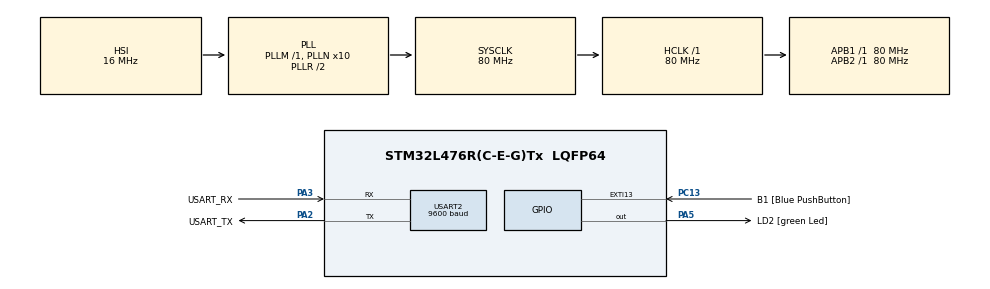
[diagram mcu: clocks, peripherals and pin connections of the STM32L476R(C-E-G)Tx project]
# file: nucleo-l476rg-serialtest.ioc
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Mcu.Family=STM32L4
RCC.MSI_VALUE=4000000
RCC.PLLSourceVirtual=RCC_PLLSOURCE_HSI
PA14\ (JTCK-SWCLK).Mode=Serial_Wire
PA2.GPIO_PuPd=GPIO_NOPULL
RCC.CortexFreq_Value=80000000
PH0-OSC_IN\ (PH0).Signal=RCC_OSC_IN
PC13.Signal=GPXTI13
PA3.GPIO_PuPd=GPIO_NOPULL
PA2.GPIO_Speed=GPIO_SPEED_FREQ_VERY_HIGH
PC15-OSC32_OUT\ (PC15).Signal=RCC_OSC32_OUT
PC15-OSC32_OUT\ (PC15).Mode=LSE-External-Oscillator
PA14\ (JTCK-SWCLK).GPIO_Label=TCK
PB3\ (JTDO-TRACESWO).GPIO_Label=SWO
PC13.GPIO_Label=B1 [Blue PushButton]
PA3.GPIO_Speed=GPIO_SPEED_FREQ_VERY_HIGH
USART2.BaudRate=9600
PH1-OSC_OUT\ (PH1).Signal=RCC_OSC_OUT
RCC.SYSCLKSource=RCC_SYSCLKSOURCE_PLLCLK
ProjectManager.StackSize=0x400
PB3\ (JTDO-TRACESWO).Signal=SYS_JTDO-SWO
PC14-OSC32_IN\ (PC14).Mode=LSE-External-Oscillator
PA14\ (JTCK-SWCLK).Signal=SYS_JTCK-SWCLK
PA3.Mode=Asynchronous
ProjectManager.TargetToolchain=STM32CubeIDE
PA3.GPIO_Mode=GPIO_MODE_AF_PP
RCC.HCLKFreq_Value=80000000
RCC.APB2TimFreq_Value=80000000
RCC.USBFreq_Value=64000000
RCC.AHBFreq_Value=80000000
RCC.PREFETCH_ENABLE=1
PA5.Signal=GPIO_Output
RCC.HSE_VALUE=8000000
board=NUCLEO-L476RG
USART2.VirtualMode-Asynchronous=VM_ASYNC
RCC.VCOOutputFreq_Value=160000000
RCC.APB2Freq_Value=80000000
PA5.GPIO_ModeDefaultOutputPP=GPIO_MODE_OUTPUT_PP
PA13\ (JTMS-SWDIO).GPIO_Label=TMS
PA5.GPIO_PuPd=GPIO_NOPULL
RCC.ADCFreq_Value=64000000
PC13.GPIO_PuPd=GPIO_NOPULL
Mcu.Name=STM32L476R(C-E-G)Tx
PA2.Signal=USART2_TX
PA13\ (JTMS-SWDIO).Mode=Serial_Wire
RCC.SYSCLKFreq_VALUE=80000000
Mcu.Package=LQFP64
PA5.GPIO_Label=LD2 [green Led]
PC13.GPIO_ModeDefaultEXTI=GPIO_MODE_IT_FALLING
PC14-OSC32_IN\ (PC14).Signal=RCC_OSC32_IN
PA2.GPIO_Label=USART_TX
ProjectManager.HeapSize=0x200
RCC.HSI_VALUE=16000000
PA5.GPIO_Speed=GPIO_SPEED_FREQ_LOW
NVIC.PriorityGroup=NVIC_PRIORITYGROUP_4
RCC.PLLN=10
RCC.APB1TimFreq_Value=80000000
PA2.Mode=Asynchronous
PA13\ (JTMS-SWDIO).Signal=SYS_JTMS-SWDIO
RCC.APB1Freq_Value=80000000
PA3.GPIO_Label=USART_RX
PA3.Signal=USART2_RX
PA2.GPIO_Mode=GPIO_MODE_AF_PP

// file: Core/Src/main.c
/* USER CODE BEGIN Header */
/**
  ******************************************************************************
  * @file           : main.c
  * @brief          : Main program body
  ******************************************************************************
  * @attention
  *
  * <h2><center>&copy; Copyright (c) 2021 STMicroelectronics.
  * All rights reserved.</center></h2>
  *
  * This software component is licensed by ST under BSD 3-Clause license,
  * the "License"; You may not use this file except in compliance with the
  * License. You may obtain a copy of the License at:
  *                        opensource.org/licenses/BSD-3-Clause
  *
  ******************************************************************************
  */
/* USER CODE END Header */
#include "main.h"

/* USER CODE BEGIN Includes */
#include "stdbool.h"
/* USER CODE END Includes */

UART_HandleTypeDef huart2;

void SystemClock_Config(void);
static void MX_GPIO_Init(void);
static void MX_USART2_UART_Init(void);

int main(void)
{
  /* USER CODE BEGIN 1 */
//  bool complete = false; // state control variable
  uint32_t debounce = HAL_GetTick();
  uint8_t txString[] = "blue1234567890red1234567823132132132132132132132190\r\n";
  uint8_t rx_Data[10] = ""; //  10 byte wide receive buffer for serial data

  // initialize the receive buffer empty because there could be junk in it from a reset
  rx_Data[0] = '\0';

  /* USER CODE END 1 */

  /* MCU Configuration--------------------------------------------------------*/

  /* Reset of all peripherals, Initializes the Flash interface and the Systick. */
  HAL_Init();

  /* Configure the system clock */
  SystemClock_Config();

  /* Initialize all configured peripherals */
  MX_GPIO_Init();
  MX_USART2_UART_Init();

  /* Infinite loop */
  /* USER CODE BEGIN WHILE */
  while (1)
  {
	// GPIO_PIN_13 is considered "reset" when pressed down
    if ( (HAL_GPIO_ReadPin(GPIOC, GPIO_PIN_13) == GPIO_PIN_RESET) && ((HAL_GetTick() - debounce) > 150))
    {
    	HAL_UART_Transmit(&huart2, txString, sizeof(txString), 0xFFFF);
    	debounce = HAL_GetTick();
    }

    // below code uses ticks to send serial data every 1 second
    /*
	  if ((HAL_GetTick() - time1) > 1500)
    {
    	HAL_UART_Transmit(&huart2, txString, sizeof(txString), 0xFFFF);
    	time1 = HAL_GetTick();
    }
    */

    HAL_UART_Receive(&huart2, rx_Data, sizeof(rx_Data), 20);

    if (rx_Data[0] == 'a')
    {
    	// send an 'a' character to toggle ON the built-in LED
    	HAL_GPIO_WritePin(GPIOA, GPIO_PIN_5, GPIO_PIN_SET);
    }
    else if (rx_Data[0] == 'b')
    {
    	// send a 'b' character to toggle OFF the built-in LED
    	HAL_GPIO_WritePin(GPIOA, GPIO_PIN_5, GPIO_PIN_RESET);
    }

    // loop-back the received character buffer for learning purposes
    HAL_UART_Transmit(&huart2, rx_Data, sizeof(rx_Data), 0xFFFF);

    /* USER CODE END WHILE */

    /* USER CODE BEGIN 3 */
    // \0 is the null character for a character array (aka string), all characters after \0
    // in a character array are ignored, even though they do still exist if you could physically
    // access the memory still
    // -= the operation below essentially "clears" out the character array =-
    rx_Data[0] = '\0';
  }
  /* USER CODE END 3 */
}

void SystemClock_Config(void)
{
  RCC_OscInitTypeDef RCC_OscInitStruct = {0};
  RCC_ClkInitTypeDef RCC_ClkInitStruct = {0};
  RCC_PeriphCLKInitTypeDef PeriphClkInit = {0};

  /** Initializes the RCC Oscillators according to the specified parameters
  * in the RCC_OscInitTypeDef structure.
  */
  RCC_OscInitStruct.OscillatorType = RCC_OSCILLATORTYPE_HSI;
  RCC_OscInitStruct.HSIState = RCC_HSI_ON;
  RCC_OscInitStruct.HSICalibrationValue = RCC_HSICALIBRATION_DEFAULT;
  RCC_OscInitStruct.PLL.PLLState = RCC_PLL_ON;
  RCC_OscInitStruct.PLL.PLLSource = RCC_PLLSOURCE_HSI;
  RCC_OscInitStruct.PLL.PLLM = 1;
  RCC_OscInitStruct.PLL.PLLN = 10;
  RCC_OscInitStruct.PLL.PLLP = RCC_PLLP_DIV7;
  RCC_OscInitStruct.PLL.PLLQ = RCC_PLLQ_DIV2;
  RCC_OscInitStruct.PLL.PLLR = RCC_PLLR_DIV2;
  if (HAL_RCC_OscConfig(&RCC_OscInitStruct) != HAL_OK)
  {
    Error_Handler();
  }
  /** Initializes the CPU, AHB and APB buses clocks
  */
  RCC_ClkInitStruct.ClockType = RCC_CLOCKTYPE_HCLK|RCC_CLOCKTYPE_SYSCLK
                              |RCC_CLOCKTYPE_PCLK1|RCC_CLOCKTYPE_PCLK2;
  RCC_ClkInitStruct.SYSCLKSource = RCC_SYSCLKSOURCE_PLLCLK;
  RCC_ClkInitStruct.AHBCLKDivider = RCC_SYSCLK_DIV1;
  RCC_ClkInitStruct.APB1CLKDivider = RCC_HCLK_DIV1;
  RCC_ClkInitStruct.APB2CLKDivider = RCC_HCLK_DIV1;

  if (HAL_RCC_ClockConfig(&RCC_ClkInitStruct, FLASH_LATENCY_4) != HAL_OK)
  {
    Error_Handler();
  }
  PeriphClkInit.PeriphClockSelection = RCC_PERIPHCLK_USART2;
  PeriphClkInit.Usart2ClockSelection = RCC_USART2CLKSOURCE_PCLK1;
  if (HAL_RCCEx_PeriphCLKConfig(&PeriphClkInit) != HAL_OK)
  {
    Error_Handler();
  }
  /** Configure the main internal regulator output voltage
  */
  if (HAL_PWREx_ControlVoltageScaling(PWR_REGULATOR_VOLTAGE_SCALE1) != HAL_OK)
  {
    Error_Handler();
  }
}

static void MX_USART2_UART_Init(void)
{

  huart2.Instance = USART2;
  huart2.Init.BaudRate = 9600;
  huart2.Init.WordLength = UART_WORDLENGTH_8B;
  huart2.Init.StopBits = UART_STOPBITS_1;
  huart2.Init.Parity = UART_PARITY_NONE;
  huart2.Init.Mode = UART_MODE_TX_RX;
  huart2.Init.HwFlowCtl = UART_HWCONTROL_NONE;
  huart2.Init.OverSampling = UART_OVERSAMPLING_16;
  huart2.Init.OneBitSampling = UART_ONE_BIT_SAMPLE_DISABLE;
  huart2.AdvancedInit.AdvFeatureInit = UART_ADVFEATURE_NO_INIT;
  if (HAL_UART_Init(&huart2) != HAL_OK)
  {
    Error_Handler();
  }

}

static void MX_GPIO_Init(void)
{
  GPIO_InitTypeDef GPIO_InitStruct = {0};

  /* GPIO Ports Clock Enable */
  __HAL_RCC_GPIOC_CLK_ENABLE();
  __HAL_RCC_GPIOH_CLK_ENABLE();
  __HAL_RCC_GPIOA_CLK_ENABLE();
  __HAL_RCC_GPIOB_CLK_ENABLE();

  /*Configure GPIO pin Output Level */
  HAL_GPIO_WritePin(LD2_GPIO_Port, LD2_Pin, GPIO_PIN_RESET);

  /*Configure GPIO pin : B1_Pin */
  GPIO_InitStruct.Pin = B1_Pin;
  GPIO_InitStruct.Mode = GPIO_MODE_IT_FALLING;
  GPIO_InitStruct.Pull = GPIO_NOPULL;
  HAL_GPIO_Init(B1_GPIO_Port, &GPIO_InitStruct);

  /*Configure GPIO pin : LD2_Pin */
  GPIO_InitStruct.Pin = LD2_Pin;
  GPIO_InitStruct.Mode = GPIO_MODE_OUTPUT_PP;
  GPIO_InitStruct.Pull = GPIO_NOPULL;
  GPIO_InitStruct.Speed = GPIO_SPEED_FREQ_LOW;
  HAL_GPIO_Init(LD2_GPIO_Port, &GPIO_InitStruct);

}

void Error_Handler(void)
{
  __disable_irq();
  while (1)
  {
  }
}

/************************ (C) COPYRIGHT STMicroelectronics *****END OF FILE****/
